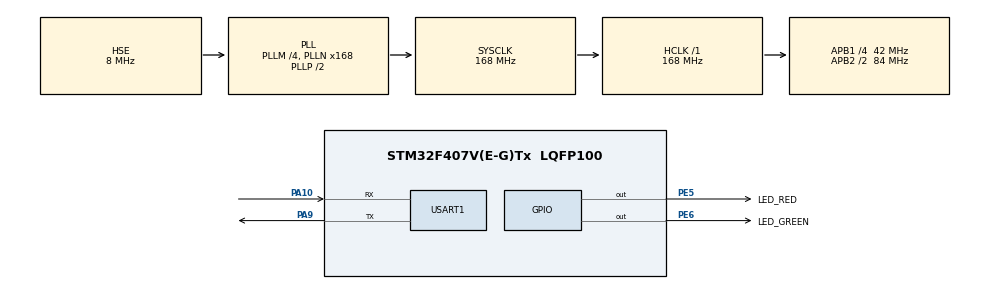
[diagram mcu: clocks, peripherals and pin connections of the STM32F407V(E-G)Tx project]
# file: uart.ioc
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Mcu.Family=STM32F4
Mcu.Name=STM32F407V(E-G)Tx
Mcu.Package=LQFP100
NVIC.PriorityGroup=NVIC_PRIORITYGROUP_4
NVIC.USART1_IRQn=true\:0\:0\:false\:false\:true\:true\:true\:true
PA10.Mode=Asynchronous
PA10.Signal=USART1_RX
PA13.Mode=Serial_Wire
PA13.Signal=SYS_JTMS-SWDIO
PA14.Mode=Serial_Wire
PA14.Signal=SYS_JTCK-SWCLK
PA9.Mode=Asynchronous
PA9.Signal=USART1_TX
PE5.GPIO_Label=LED_RED
PE5.PinState=GPIO_PIN_SET
PE5.Signal=GPIO_Output
PE6.GPIO_Label=LED_GREEN
PE6.GPIO_PuPd=GPIO_NOPULL
PE6.PinState=GPIO_PIN_SET
PE6.Signal=GPIO_Output
PH0-OSC_IN.Mode=HSE-External-Oscillator
PH0-OSC_IN.Signal=RCC_OSC_IN
PH1-OSC_OUT.Mode=HSE-External-Oscillator
PH1-OSC_OUT.Signal=RCC_OSC_OUT
ProjectManager.HeapSize=0x200
ProjectManager.StackSize=0x400
ProjectManager.TargetToolchain=CMake
RCC.48MHZClocksFreq_Value=84000000
RCC.AHBFreq_Value=168000000
RCC.APB1CLKDivider=RCC_HCLK_DIV4
RCC.APB1Freq_Value=42000000
RCC.APB1TimFreq_Value=84000000
RCC.APB2CLKDivider=RCC_HCLK_DIV2
RCC.APB2Freq_Value=84000000
RCC.APB2TimFreq_Value=168000000
RCC.CortexFreq_Value=168000000
RCC.HCLKFreq_Value=168000000
RCC.HSE_VALUE=8000000
RCC.HSI_VALUE=16000000
RCC.LSE_VALUE=32768
RCC.PLLM=4
RCC.PLLN=168
RCC.PLLSourceVirtual=RCC_PLLSOURCE_HSE
RCC.SYSCLKFreq_VALUE=168000000
RCC.SYSCLKSource=RCC_SYSCLKSOURCE_PLLCLK
RCC.VCOOutputFreq_Value=336000000
USART1.VirtualMode=VM_ASYNC
board=custom

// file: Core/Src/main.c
/* USER CODE BEGIN Header */
/**
  ******************************************************************************
  * @file           : main.c
  * @brief          : Main program body
  ******************************************************************************
  * @attention
  *
  * Copyright (c) 2026 STMicroelectronics.
  * All rights reserved.
  *
  * This software is licensed under terms that can be found in the LICENSE file
  * in the root directory of this software component.
  * If no LICENSE file comes with this software, it is provided AS-IS.
  *
  ******************************************************************************
  */
/* USER CODE END Header */
#include "main.h"

/* USER CODE BEGIN Includes */
#include <string.h>
/* USER CODE END Includes */

UART_HandleTypeDef huart1;

/* USER CODE BEGIN PV */
uint8_t message [2];
/* USER CODE END PV */

void SystemClock_Config(void);
static void MX_GPIO_Init(void);
static void MX_USART1_UART_Init(void);

/* USER CODE BEGIN 0 */

void HAL_UART_RxCpltCallback(UART_HandleTypeDef *huart)
{
    HAL_UART_Transmit_IT(&huart1 , message , 2);
    GPIO_PinState open = GPIO_PIN_RESET;
    GPIO_PinState closed = GPIO_PIN_SET;
    if (message[0] == 'R')
    {
      if (message[1] == '0')
        HAL_GPIO_WritePin(LED_RED_GPIO_Port , LED_RED_Pin , closed);
      else if (message[1] == '1')
        HAL_GPIO_WritePin(LED_RED_GPIO_Port , LED_RED_Pin , open);
    }
    if (message[0] == 'G')
    {
      if (message[1] == '0')
        HAL_GPIO_WritePin(LED_GREEN_GPIO_Port , LED_GREEN_Pin , closed);
      else if (message[1] == '1')
        HAL_GPIO_WritePin(LED_GREEN_GPIO_Port , LED_GREEN_Pin , open);
    }
    HAL_UART_Receive_IT(&huart1 , message , 2);
}
/* USER CODE END 0 */

int main(void)
{

  /* MCU Configuration--------------------------------------------------------*/

  /* Reset of all peripherals, Initializes the Flash interface and the Systick. */
  HAL_Init();

  /* Configure the system clock */
  SystemClock_Config();

  /* Initialize all configured peripherals */
  MX_GPIO_Init();
  MX_USART1_UART_Init();
  /* USER CODE BEGIN 2 */
  HAL_UART_Receive_IT(&huart1 , message , 2);
  /* USER CODE END 2 */

  /* Infinite loop */
  while (1)
  {

  }
}

void SystemClock_Config(void)
{
  RCC_OscInitTypeDef RCC_OscInitStruct = {0};
  RCC_ClkInitTypeDef RCC_ClkInitStruct = {0};

  /** Configure the main internal regulator output voltage
  */
  __HAL_RCC_PWR_CLK_ENABLE();
  __HAL_PWR_VOLTAGESCALING_CONFIG(PWR_REGULATOR_VOLTAGE_SCALE1);

  /** Initializes the RCC Oscillators according to the specified parameters
  * in the RCC_OscInitTypeDef structure.
  */
  RCC_OscInitStruct.OscillatorType = RCC_OSCILLATORTYPE_HSE;
  RCC_OscInitStruct.HSEState = RCC_HSE_ON;
  RCC_OscInitStruct.PLL.PLLState = RCC_PLL_ON;
  RCC_OscInitStruct.PLL.PLLSource = RCC_PLLSOURCE_HSE;
  RCC_OscInitStruct.PLL.PLLM = 4;
  RCC_OscInitStruct.PLL.PLLN = 168;
  RCC_OscInitStruct.PLL.PLLP = RCC_PLLP_DIV2;
  RCC_OscInitStruct.PLL.PLLQ = 4;
  if (HAL_RCC_OscConfig(&RCC_OscInitStruct) != HAL_OK)
  {
    Error_Handler();
  }

  /** Initializes the CPU, AHB and APB buses clocks
  */
  RCC_ClkInitStruct.ClockType = RCC_CLOCKTYPE_HCLK|RCC_CLOCKTYPE_SYSCLK
                              |RCC_CLOCKTYPE_PCLK1|RCC_CLOCKTYPE_PCLK2;
  RCC_ClkInitStruct.SYSCLKSource = RCC_SYSCLKSOURCE_PLLCLK;
  RCC_ClkInitStruct.AHBCLKDivider = RCC_SYSCLK_DIV1;
  RCC_ClkInitStruct.APB1CLKDivider = RCC_HCLK_DIV4;
  RCC_ClkInitStruct.APB2CLKDivider = RCC_HCLK_DIV2;

  if (HAL_RCC_ClockConfig(&RCC_ClkInitStruct, FLASH_LATENCY_5) != HAL_OK)
  {
    Error_Handler();
  }
}

static void MX_USART1_UART_Init(void)
{

  huart1.Instance = USART1;
  huart1.Init.BaudRate = 115200;
  huart1.Init.WordLength = UART_WORDLENGTH_8B;
  huart1.Init.StopBits = UART_STOPBITS_1;
  huart1.Init.Parity = UART_PARITY_NONE;
  huart1.Init.Mode = UART_MODE_TX_RX;
  huart1.Init.HwFlowCtl = UART_HWCONTROL_NONE;
  huart1.Init.OverSampling = UART_OVERSAMPLING_16;
  if (HAL_UART_Init(&huart1) != HAL_OK)
  {
    Error_Handler();
  }

}

static void MX_GPIO_Init(void)
{
  GPIO_InitTypeDef GPIO_InitStruct = {0};

  /* GPIO Ports Clock Enable */
  __HAL_RCC_GPIOE_CLK_ENABLE();
  __HAL_RCC_GPIOH_CLK_ENABLE();
  __HAL_RCC_GPIOA_CLK_ENABLE();

  /*Configure GPIO pin Output Level */
  HAL_GPIO_WritePin(GPIOE, LED_RED_Pin|LED_GREEN_Pin, GPIO_PIN_SET);

  /*Configure GPIO pins : LED_RED_Pin LED_GREEN_Pin */
  GPIO_InitStruct.Pin = LED_RED_Pin|LED_GREEN_Pin;
  GPIO_InitStruct.Mode = GPIO_MODE_OUTPUT_PP;
  GPIO_InitStruct.Pull = GPIO_NOPULL;
  GPIO_InitStruct.Speed = GPIO_SPEED_FREQ_LOW;
  HAL_GPIO_Init(GPIOE, &GPIO_InitStruct);

}

void Error_Handler(void)
{
  __disable_irq();
  while (1)
  {
  }
}
